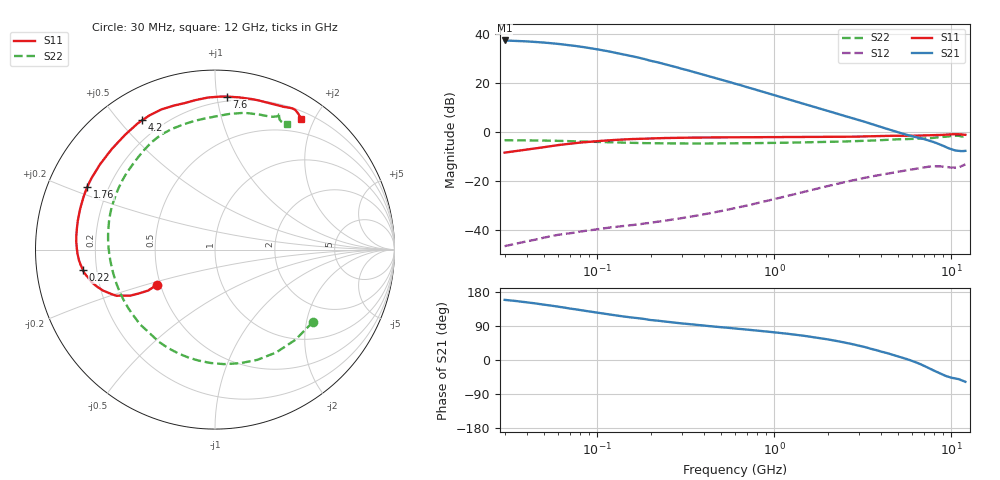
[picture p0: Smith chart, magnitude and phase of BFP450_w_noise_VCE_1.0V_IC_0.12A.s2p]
! (c) 2015  Infineon Technologies AG, Munich
! Infineon Technologies  Discrete & RF Semiconductors
! BFP450
! VCE =  1.0 V,  IC = 0.12 A
! Common Emitter S-Parameters:  Nov 2015
# GHz  S  MA  R  50
!  f  S11  S21  S12  S22
! GHz  MAG  ANG  MAG  ANG  MAG  ANG  MAG  ANG
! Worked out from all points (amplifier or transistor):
!   239 points, 30 MHz to 12 GHz, reference 50 ohm
!   highest |S21| = 37.3 dB at 30 MHz (marker M1)
!   |S21| within 3 dB of that: start of sweep to 88.88 MHz
!   unconditionally stable (mu >= 1): 696.8 MHz to end of sweep
!   at 300 MHz: K = 0.79, MSG = 30.4 dB, |S12| = -35.1 dB
!   at 1.88 GHz: K = 1.10, MAG = 13.9 dB, |S12| = -22.6 dB
!   at 12 GHz: K = 1.08, MAG = 1.0 dB, |S12| = -13.3 dB
!   lowest NFmin = 2.31 dB at 450 MHz
!   S11 on the Smith chart (normalised r, x): 30 MHz: 0.48, -0.22; 220 MHz: 0.15, -0.08; 1.76 GHz: 0.12, +0.23; 4.2 GHz: 0.13, +0.58; 7.6 GHz: 0.17, +1.06; 12 GHz: 0.30, +1.82
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0.03  0.3784 -148.8  72.92 158.7  0.0047 76.7  0.678 -36.5
0.04  0.4363 -148.5  69.77 152.2  0.0059 71.8  0.6734 -48.2
0.05  0.4879 -150.0  66.11 146.0  0.007 67.4  0.6667 -59.3
0.06  0.5377 -151.5  62.12 140.9  0.008 63.8  0.6582 -68.9
0.07  0.5734 -153.5  58.26 135.8  0.0086 61.8  0.6483 -77.6
0.085  0.6155 -155.7  52.95 130.1  0.0096 57.6  0.6348 -88.9
0.105  0.6562 -159.2  46.68 123.5  0.0106 55.1  0.6212 -101.3
0.13  0.6899 -162.7  40.21 117.0  0.0117 53.1  0.6089 -113.6
0.15  0.7105 -165.2  36 113.0  0.0124 52.4  0.6014 -121.2
0.2  0.7398 -169.9  28.14 105.5  0.0141 53.0  0.5898 -135.1
0.22  0.7444 -171.2  26.08 103.7  0.0148 53.4  0.5856 -138.8
0.24  0.7495 -172.5  24.04 101.7  0.0155 53.8  0.584 -142.6
0.3  0.7608 -175.7  19.33 96.5  0.0175 55.4  0.5815 -151.2
0.36  0.7665 -178.3  16.21 93.0  0.0195 56.9  0.5806 -157.2
0.6  0.7763 174.8  9.595 83.0  0.028 60.6  0.5849 -171.7
1  0.7813 166.7  5.589 73.0  0.0428 60.9  0.597 175.8
1.64  0.7908 155.9  3.314 60.8  0.0661 56.0  0.615 162.3
1.76  0.7923 153.9  3.073 58.6  0.0704 54.7  0.6183 160.1
4.2  0.8267 119.3  1.192 20.0  0.1378 25.8  0.685 123.8
4.5  0.8322 116.1  1.1 15.8  0.1439 22.8  0.6951 120.5
7.6  0.8551 85.7  0.654 -23.3  0.1968 -10.9  0.7445 88.8
12  0.8716 56.5  0.411 -57.5  0.2174 -42.7  0.8045 60.2
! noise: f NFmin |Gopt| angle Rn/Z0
0.45  2.31  0.66  -172  0.07
0.9  2.37  0.69  -166  0.09
1.9  2.46  0.7  -149  0.19
2.4  2.55  0.7  -139  0.27
